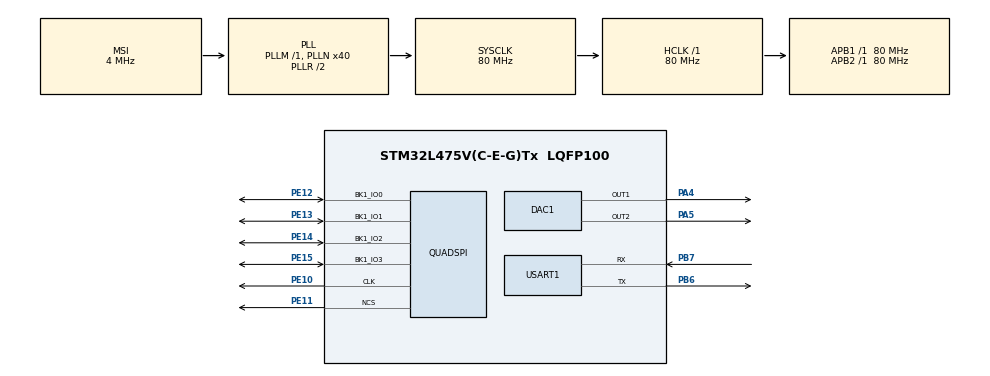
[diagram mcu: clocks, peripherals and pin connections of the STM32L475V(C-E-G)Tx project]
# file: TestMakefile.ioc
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DAC1.DAC_Channel-DAC_OUT2=DAC_CHANNEL_2
Mcu.Family=STM32L4
Mcu.Name=STM32L475V(C-E-G)Tx
Mcu.Package=LQFP100
NVIC.PriorityGroup=NVIC_PRIORITYGROUP_4
NVIC.TIM2_IRQn=true\:0\:0\:false\:false\:true\:true\:true
PA4.Signal=COMP_DAC11_group
PA5.Signal=COMP_DAC12_group
PB6.Mode=Asynchronous
PB6.Signal=USART1_TX
PB7.Mode=Asynchronous
PB7.Signal=USART1_RX
PE10.Mode=Single Bank
PE10.Signal=QUADSPI_CLK
PE11.Mode=Single Bank
PE11.Signal=QUADSPI_NCS
PE12.Mode=Single Bank
PE12.Signal=QUADSPI_BK1_IO0
PE13.Mode=Single Bank
PE13.Signal=QUADSPI_BK1_IO1
PE14.Mode=Single Bank
PE14.Signal=QUADSPI_BK1_IO2
PE15.Mode=Single Bank
PE15.Signal=QUADSPI_BK1_IO3
ProjectManager.HeapSize=0x200
ProjectManager.StackSize=0x400
ProjectManager.TargetToolchain=Makefile
QUADSPI.ClockPrescaler-Single\ Bank=2
QUADSPI.FifoThreshold-Single\ Bank=4
QUADSPI.FlashSize-Single\ Bank=0x1
RCC.ADCFreq_Value=48000000
RCC.AHBFreq_Value=80000000
RCC.APB1Freq_Value=80000000
RCC.APB1TimFreq_Value=80000000
RCC.APB2Freq_Value=80000000
RCC.APB2TimFreq_Value=80000000
RCC.CortexFreq_Value=80000000
RCC.HCLKFreq_Value=80000000
RCC.HSE_VALUE=8000000
RCC.HSI_VALUE=16000000
RCC.LSE_VALUE=32768
RCC.MSI_VALUE=4000000
RCC.PLLN=40
RCC.PLLSAI1N=24
RCC.SYSCLKFreq_VALUE=80000000
RCC.SYSCLKSource=RCC_SYSCLKSOURCE_PLLCLK
RCC.USBFreq_Value=48000000
RCC.VCOOutputFreq_Value=160000000
SH.COMP_DAC11_group.0=DAC1_OUT1,DAC_OUT1
SH.COMP_DAC12_group.0=DAC1_OUT2,DAC_OUT2
TIM2.AutoReloadPreload=TIM_AUTORELOAD_PRELOAD_ENABLE
TIM2.Period=5000
USART1.VirtualMode-Asynchronous=VM_ASYNC
VP_TIM2_VS_ClockSourceINT.Mode=Internal
board=B-L475E-IOT01A1

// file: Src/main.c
/* USER CODE BEGIN Header */
/**
  ******************************************************************************
  * @file           : main.c
  * @brief          : Main program body
  ******************************************************************************
  * @attention
  *
  * <h2><center>&copy; Copyright (c) 2019 STMicroelectronics.
  * All rights reserved.</center></h2>
  *
  * This software component is licensed by ST under BSD 3-Clause license,
  * the "License"; You may not use this file except in compliance with the
  * License. You may obtain a copy of the License at:
  *                        opensource.org/licenses/BSD-3-Clause
  *
  ******************************************************************************
  */
/* USER CODE END Header */

#include "main.h"

/* USER CODE BEGIN Includes */
#include <stdio.h>
#include "stm32l475e_iot01.h"
#include "stm32l475e_iot01_qspi.h"
#include "arm_math.h"

#include <errno.h>
#undef errno
extern int errno;
/* USER CODE END Includes */

DAC_HandleTypeDef hdac1;

QSPI_HandleTypeDef hqspi;

TIM_HandleTypeDef htim2;

UART_HandleTypeDef huart1;

void SystemClock_Config(void);
static void MX_GPIO_Init(void);
static void MX_USART1_UART_Init(void);
static void MX_DAC1_Init(void);
static void MX_QUADSPI_Init(void);
static void MX_TIM2_Init(void);

/* USER CODE BEGIN 0 */
int _write (int fd, char * ptr, int len)
{
  while (HAL_OK != HAL_UART_Transmit(&huart1, (uint8_t *) ptr, len, HAL_UART_TIMEOUT_VALUE));
  return (len);
}

int _read (int fd, char * ptr, int len)
{
  char c;
  int  i;
  printf("len = %d\n", len);
  for (i = 0; i < len; i++)
  {
    HAL_UART_Receive(&huart1, (uint8_t *) &c, 1, HAL_UART_TIMEOUT_VALUE);
    *ptr++ = c;
    _write(0, &c, 1);
    if (c == 0x0D) break;
  }
  // HAL_UART_Receive(&huart1, (uint8_t *) ptr, len, HAL_UART_TIMEOUT_VALUE);
  return (len - i);
}

/* USER CODE END 0 */

int main(void)
{

  /* MCU Configuration--------------------------------------------------------*/

  /* Reset of all peripherals, Initializes the Flash interface and the Systick. */
  HAL_Init();

  /* Configure the system clock */
  SystemClock_Config();

  /* Initialize all configured peripherals */
  MX_GPIO_Init();
  MX_USART1_UART_Init();
  MX_DAC1_Init();
  MX_QUADSPI_Init();
  MX_TIM2_Init();
  /* USER CODE BEGIN 2 */

  BSP_PB_Init(BUTTON_USER, BUTTON_MODE_GPIO);
  BSP_LED_Init(LED_GREEN);

  // if (BSP_QSPI_Init() != QSPI_OK) {
  //   printf("QSPI init failed\n");
  // } else {
  //   printf("QSPI init success\n");
  // }

  /* USER CODE END 2 */

  /* Infinite loop */
  /* USER CODE BEGIN WHILE */

  while (1)
  {
    if (!BSP_PB_GetState(BUTTON_USER)) {
      BSP_LED_On(LED_GREEN);
      printf("Button pushed\n");
      HAL_UART_Transmit(&huart1, (uint8_t *) "Button pushed (uart tx)\n", 24, HAL_UART_TIMEOUT_VALUE);
      // readvalue = -1;
    } else {
      BSP_LED_Off(LED_GREEN);
    }
    /* USER CODE END WHILE */

  }
}

void SystemClock_Config(void)
{
  RCC_OscInitTypeDef RCC_OscInitStruct = {0};
  RCC_ClkInitTypeDef RCC_ClkInitStruct = {0};
  RCC_PeriphCLKInitTypeDef PeriphClkInit = {0};

  /** Initializes the CPU, AHB and APB busses clocks
  */
  RCC_OscInitStruct.OscillatorType = RCC_OSCILLATORTYPE_MSI;
  RCC_OscInitStruct.MSIState = RCC_MSI_ON;
  RCC_OscInitStruct.MSICalibrationValue = 0;
  RCC_OscInitStruct.MSIClockRange = RCC_MSIRANGE_6;
  RCC_OscInitStruct.PLL.PLLState = RCC_PLL_ON;
  RCC_OscInitStruct.PLL.PLLSource = RCC_PLLSOURCE_MSI;
  RCC_OscInitStruct.PLL.PLLM = 1;
  RCC_OscInitStruct.PLL.PLLN = 40;
  RCC_OscInitStruct.PLL.PLLP = RCC_PLLP_DIV7;
  RCC_OscInitStruct.PLL.PLLQ = RCC_PLLQ_DIV2;
  RCC_OscInitStruct.PLL.PLLR = RCC_PLLR_DIV2;
  if (HAL_RCC_OscConfig(&RCC_OscInitStruct) != HAL_OK)
  {
    Error_Handler();
  }
  /** Initializes the CPU, AHB and APB busses clocks
  */
  RCC_ClkInitStruct.ClockType = RCC_CLOCKTYPE_HCLK|RCC_CLOCKTYPE_SYSCLK
                              |RCC_CLOCKTYPE_PCLK1|RCC_CLOCKTYPE_PCLK2;
  RCC_ClkInitStruct.SYSCLKSource = RCC_SYSCLKSOURCE_PLLCLK;
  RCC_ClkInitStruct.AHBCLKDivider = RCC_SYSCLK_DIV1;
  RCC_ClkInitStruct.APB1CLKDivider = RCC_HCLK_DIV1;
  RCC_ClkInitStruct.APB2CLKDivider = RCC_HCLK_DIV1;

  if (HAL_RCC_ClockConfig(&RCC_ClkInitStruct, FLASH_LATENCY_4) != HAL_OK)
  {
    Error_Handler();
  }
  PeriphClkInit.PeriphClockSelection = RCC_PERIPHCLK_USART1;
  PeriphClkInit.Usart1ClockSelection = RCC_USART1CLKSOURCE_PCLK2;
  if (HAL_RCCEx_PeriphCLKConfig(&PeriphClkInit) != HAL_OK)
  {
    Error_Handler();
  }
  /** Configure the main internal regulator output voltage
  */
  if (HAL_PWREx_ControlVoltageScaling(PWR_REGULATOR_VOLTAGE_SCALE1) != HAL_OK)
  {
    Error_Handler();
  }
}

static void MX_DAC1_Init(void)
{

  DAC_ChannelConfTypeDef sConfig = {0};

  /** DAC Initialization
  */
  hdac1.Instance = DAC1;
  if (HAL_DAC_Init(&hdac1) != HAL_OK)
  {
    Error_Handler();
  }
  /** DAC channel OUT1 config
  */
  sConfig.DAC_SampleAndHold = DAC_SAMPLEANDHOLD_DISABLE;
  sConfig.DAC_Trigger = DAC_TRIGGER_NONE;
  sConfig.DAC_OutputBuffer = DAC_OUTPUTBUFFER_ENABLE;
  sConfig.DAC_ConnectOnChipPeripheral = DAC_CHIPCONNECT_DISABLE;
  sConfig.DAC_UserTrimming = DAC_TRIMMING_FACTORY;
  if (HAL_DAC_ConfigChannel(&hdac1, &sConfig, DAC_CHANNEL_1) != HAL_OK)
  {
    Error_Handler();
  }
  /** DAC channel OUT2 config
  */
  sConfig.DAC_ConnectOnChipPeripheral = DAC_CHIPCONNECT_DISABLE;
  if (HAL_DAC_ConfigChannel(&hdac1, &sConfig, DAC_CHANNEL_2) != HAL_OK)
  {
    Error_Handler();
  }

}

static void MX_QUADSPI_Init(void)
{

  /* QUADSPI parameter configuration*/
  hqspi.Instance = QUADSPI;
  hqspi.Init.ClockPrescaler = 2;
  hqspi.Init.FifoThreshold = 4;
  hqspi.Init.SampleShifting = QSPI_SAMPLE_SHIFTING_NONE;
  hqspi.Init.FlashSize = 0x1;
  hqspi.Init.ChipSelectHighTime = QSPI_CS_HIGH_TIME_1_CYCLE;
  hqspi.Init.ClockMode = QSPI_CLOCK_MODE_0;
  if (HAL_QSPI_Init(&hqspi) != HAL_OK)
  {
    Error_Handler();
  }

}

static void MX_TIM2_Init(void)
{

  TIM_ClockConfigTypeDef sClockSourceConfig = {0};
  TIM_MasterConfigTypeDef sMasterConfig = {0};

  htim2.Instance = TIM2;
  htim2.Init.Prescaler = 0;
  htim2.Init.CounterMode = TIM_COUNTERMODE_UP;
  htim2.Init.Period = 5000;
  htim2.Init.ClockDivision = TIM_CLOCKDIVISION_DIV1;
  htim2.Init.AutoReloadPreload = TIM_AUTORELOAD_PRELOAD_ENABLE;
  if (HAL_TIM_Base_Init(&htim2) != HAL_OK)
  {
    Error_Handler();
  }
  sClockSourceConfig.ClockSource = TIM_CLOCKSOURCE_INTERNAL;
  if (HAL_TIM_ConfigClockSource(&htim2, &sClockSourceConfig) != HAL_OK)
  {
    Error_Handler();
  }
  sMasterConfig.MasterOutputTrigger = TIM_TRGO_RESET;
  sMasterConfig.MasterSlaveMode = TIM_MASTERSLAVEMODE_DISABLE;
  if (HAL_TIMEx_MasterConfigSynchronization(&htim2, &sMasterConfig) != HAL_OK)
  {
    Error_Handler();
  }

}

static void MX_USART1_UART_Init(void)
{

  huart1.Instance = USART1;
  huart1.Init.BaudRate = 115200;
  huart1.Init.WordLength = UART_WORDLENGTH_8B;
  huart1.Init.StopBits = UART_STOPBITS_1;
  huart1.Init.Parity = UART_PARITY_NONE;
  huart1.Init.Mode = UART_MODE_TX_RX;
  huart1.Init.HwFlowCtl = UART_HWCONTROL_NONE;
  huart1.Init.OverSampling = UART_OVERSAMPLING_16;
  huart1.Init.OneBitSampling = UART_ONE_BIT_SAMPLE_DISABLE;
  huart1.AdvancedInit.AdvFeatureInit = UART_ADVFEATURE_NO_INIT;
  if (HAL_UART_Init(&huart1) != HAL_OK)
  {
    Error_Handler();
  }

}

static void MX_GPIO_Init(void)
{

  /* GPIO Ports Clock Enable */
  __HAL_RCC_GPIOA_CLK_ENABLE();
  __HAL_RCC_GPIOE_CLK_ENABLE();
  __HAL_RCC_GPIOB_CLK_ENABLE();

}

void Error_Handler(void)
{
}

/************************ (C) COPYRIGHT STMicroelectronics *****END OF FILE****/
